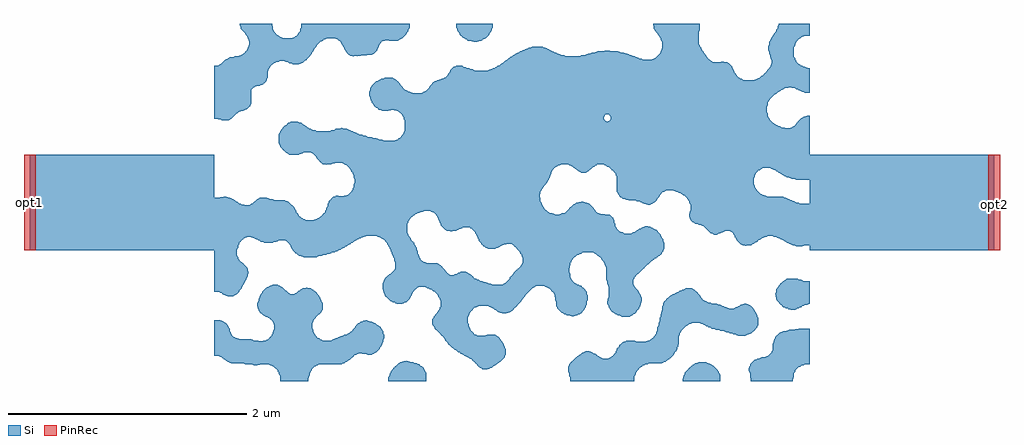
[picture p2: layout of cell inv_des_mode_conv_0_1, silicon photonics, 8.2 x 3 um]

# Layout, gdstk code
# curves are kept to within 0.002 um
import gdstk
lib = gdstk.Library(unit=1e-6, precision=1e-09)
def R(c, l, rs):  # rectangles x0, y0, x1, y1
    for r in rs: c.add(gdstk.rectangle(r[:2], r[2:], *l))
def P(c, l, *ps):  # polygons
    for p in ps: c.add(gdstk.Polygon(p, *l))
Si = (1, 0)
PinRec = (1, 10)

inv_des_mode_conv_0_1 = lib.new_cell('inv_des_mode_conv_0_1')
R(inv_des_mode_conv_0_1, Si, [(-4.05,-0.4,-2.5,0.4), (2.5,-0.4,4.05,0.4)])
P(inv_des_mode_conv_0_1, Si, [(-2.41,0.69),(-2.44,0.693),(-2.449,0.7),(-2.5,0.703),(-2.5,1.148),(-2.468,1.15),(-2.46,1.157),(-2.45,1.16),(-2.41,1.198),(-2.37,1.219),(-2.35,1.219),(-2.33,1.227),(-2.292,1.23),(-2.28,1.239),(-2.269,1.24),(-2.24,1.265),(-2.22,1.29),(-2.217,1.31),(-2.21,1.319),(-2.21,1.363),(-2.219,1.38),(-2.22,1.39),(-2.277,1.46),(-2.289,1.5),(-2.015,1.5),(-2.011,1.46),(-2,1.438),(-1.977,1.41),(-1.952,1.392),(-1.952,1.19),(-1.96,1.184),(-1.98,1.181),(-1.99,1.173),(-2,1.171),(-2.041,1.13),(-2.042,1.12),(-2.05,1.11),(-2.053,1.05),(-2.06,1.04),(-2.063,1.02),(-2.072,1.01),(-2.09,0.994),(-2.109,0.99),(-2.12,0.982),(-2.144,0.98),(-2.15,0.975),(-2.167,0.97),(-2.18,0.96),(-2.191,0.94),(-2.191,0.83),(-2.193,0.82),(-2.21,0.8),(-2.23,0.782),(-2.24,0.781),(-2.25,0.774),(-2.274,0.77),(-2.29,0.761),(-2.3,0.76),(-2.36,0.702),(-2.38,0.691)],
  [(-1.83,1.161),(-1.84,1.163),(-1.849,1.17),(-1.87,1.172),(-1.879,1.18),(-1.9,1.182),(-1.917,1.19),(-1.952,1.19),(-1.952,1.392),(-1.92,1.379),(-1.85,1.379),(-1.81,1.4),(-1.78,1.44),(-1.777,1.46),(-1.77,1.469),(-1.769,1.5),(-0.86,1.5),(-0.862,1.46),(-0.87,1.451),(-0.871,1.44),(-0.881,1.43),(-0.884,1.42),(-0.892,1.41),(-0.92,1.382),(-0.96,1.361),(-1.082,1.36),(-1.097,1.35),(-1.11,1.333),(-1.12,1.315),(-1.122,1.3),(-1.131,1.29),(-1.132,1.28),(-1.16,1.251),(-1.18,1.241),(-1.32,1.228),(-1.36,1.234),(-1.398,1.27),(-1.4,1.28),(-1.409,1.29),(-1.41,1.3),(-1.419,1.31),(-1.42,1.32),(-1.45,1.36),(-1.485,1.38),(-1.55,1.381),(-1.57,1.371),(-1.581,1.37),(-1.59,1.361),(-1.61,1.351),(-1.641,1.32),(-1.671,1.27),(-1.681,1.26),(-1.683,1.25),(-1.73,1.195),(-1.76,1.173),(-1.776,1.17),(-1.79,1.162)],
  [(-0.32,1.351),(-0.34,1.353),(-0.35,1.36),(-0.37,1.361),(-0.38,1.37),(-0.39,1.371),(-0.399,1.38),(-0.42,1.392),(-0.437,1.41),(-0.457,1.44),(-0.46,1.46),(-0.467,1.47),(-0.469,1.5),(-0.161,1.5),(-0.161,1.48),(-0.163,1.47),(-0.17,1.461),(-0.173,1.44),(-0.192,1.41),(-0.21,1.391),(-0.25,1.364),(-0.27,1.361),(-0.29,1.352)],
  [(2.34,-0.899),(2.32,-0.895),(2.315,-0.89),(2.3,-0.888),(2.291,-0.88),(2.28,-0.878),(2.231,-0.83),(2.221,-0.81),(2.213,-0.77),(2.22,-0.753),(2.222,-0.73),(2.231,-0.72),(2.232,-0.71),(2.26,-0.677),(2.29,-0.652),(2.301,-0.65),(2.31,-0.642),(2.39,-0.641),(2.4,-0.642),(2.41,-0.65),(2.44,-0.653),(2.449,-0.66),(2.5,-0.661),(2.5,-0.851),(2.459,-0.86),(2.45,-0.868),(2.44,-0.869),(2.43,-0.879),(2.419,-0.88),(2.41,-0.889),(2.397,-0.89),(2.39,-0.896),(2.38,-0.899)],
  [(0.491,-1.5),(0.49,-1.47),(0.483,-1.46),(0.48,-1.436),(0.472,-1.42),(0.472,-1.38),(0.481,-1.36),(0.499,-1.34),(0.55,-1.292),(0.57,-1.28),(0.59,-1.262),(0.6,-1.261),(0.61,-1.252),(0.66,-1.252),(0.672,-1.26),(0.68,-1.261),(0.69,-1.27),(0.7,-1.272),(0.72,-1.29),(0.73,-1.293),(0.74,-1.301),(0.75,-1.303),(0.76,-1.311),(0.81,-1.311),(0.832,-1.3),(0.85,-1.285),(0.87,-1.261),(0.872,-1.25),(0.881,-1.24),(0.882,-1.23),(0.89,-1.222),(0.895,-1.21),(0.92,-1.182),(0.94,-1.171),(0.95,-1.17),(0.96,-1.162),(1.02,-1.161),(1.04,-1.164),(1.051,-1.17),(1.11,-1.171),(1.121,-1.17),(1.14,-1.161),(1.15,-1.161),(1.16,-1.153),(1.17,-1.151),(1.201,-1.12),(1.203,-1.11),(1.211,-1.1),(1.211,-1.09),(1.22,-1.077),(1.222,-1.05),(1.23,-1.036),(1.232,-1.01),(1.24,-0.995),(1.242,-0.97),(1.25,-0.958),(1.254,-0.92),(1.26,-0.912),(1.263,-0.87),(1.27,-0.862),(1.275,-0.84),(1.299,-0.81),(1.33,-0.782),(1.34,-0.781),(1.35,-0.772),(1.361,-0.77),(1.361,-1.273),(1.33,-1.307),(1.29,-1.337),(1.276,-1.34),(1.27,-1.346),(1.26,-1.349),(1.153,-1.35),(1.14,-1.357),(1.12,-1.359),(1.11,-1.367),(1.1,-1.369),(1.07,-1.394),(1.04,-1.43),(1.039,-1.44),(1.029,-1.46),(1.029,-1.5)],
  [(1.361,-1.273),(1.361,-0.77),(1.37,-0.762),(1.38,-0.761),(1.39,-0.753),(1.422,-0.74),(1.43,-0.733),(1.447,-0.73),(1.46,-0.722),(1.51,-0.721),(1.53,-0.731),(1.55,-0.749),(1.579,-0.78),(1.59,-0.8),(1.61,-0.82),(1.645,-0.84),(1.67,-0.843),(1.681,-0.85),(1.72,-0.851),(1.73,-0.854),(1.737,-0.86),(1.75,-0.861),(1.76,-0.864),(1.767,-0.87),(1.78,-0.872),(1.789,-0.88),(1.81,-0.884),(1.817,-0.89),(1.83,-0.891),(1.867,-0.89),(1.88,-0.881),(1.891,-0.88),(1.9,-0.871),(1.91,-0.87),(1.92,-0.861),(1.932,-0.86),(1.94,-0.853),(1.97,-0.851),(1.98,-0.853),(2.01,-0.871),(2.028,-0.89),(2.04,-0.912),(2.048,-0.92),(2.049,-0.93),(2.057,-0.94),(2.06,-0.961),(2.068,-0.97),(2.068,-1.03),(2.06,-1.039),(2.059,-1.05),(2.03,-1.083),(2.01,-1.099),(2.002,-1.1),(1.99,-1.109),(1.976,-1.11),(1.96,-1.118),(1.9,-1.118),(1.885,-1.11),(1.86,-1.108),(1.851,-1.1),(1.83,-1.098),(1.82,-1.09),(1.79,-1.086),(1.78,-1.079),(1.76,-1.079),(1.75,-1.077),(1.74,-1.07),(1.71,-1.068),(1.699,-1.06),(1.68,-1.059),(1.669,-1.05),(1.65,-1.047),(1.643,-1.04),(1.63,-1.038),(1.62,-1.029),(1.61,-1.028),(1.6,-1.019),(1.58,-1.016),(1.572,-1.01),(1.518,-1.01),(1.51,-1.016),(1.49,-1.02),(1.47,-1.036),(1.459,-1.04),(1.42,-1.079),(1.417,-1.09),(1.41,-1.098),(1.408,-1.11),(1.4,-1.126),(1.399,-1.19),(1.396,-1.21),(1.39,-1.217),(1.389,-1.23),(1.38,-1.243),(1.379,-1.25)],
  [(2.007,-1.5),(2.001,-1.44),(1.992,-1.42),(1.991,-1.41),(1.993,-1.38),(2.001,-1.37),(2.002,-1.36),(2.04,-1.322),(2.05,-1.321),(2.06,-1.312),(2.082,-1.31),(2.1,-1.301),(2.12,-1.301),(2.13,-1.294),(2.15,-1.29),(2.181,-1.26),(2.182,-1.25),(2.19,-1.24),(2.192,-1.19),(2.2,-1.172),(2.202,-1.15),(2.21,-1.141),(2.212,-1.13),(2.231,-1.11),(2.25,-1.096),(2.268,-1.09),(2.28,-1.081),(2.306,-1.08),(2.32,-1.072),(2.375,-1.07),(2.39,-1.063),(2.41,-1.061),(2.5,-1.06),(2.5,-1.359),(2.46,-1.36),(2.45,-1.367),(2.43,-1.369),(2.42,-1.378),(2.409,-1.38),(2.389,-1.4),(2.38,-1.41),(2.378,-1.42),(2.37,-1.429),(2.36,-1.5)],
  [(-1.039,-1.5),(-1.038,-1.47),(-1.03,-1.456),(-1.028,-1.44),(-1.019,-1.43),(-1.018,-1.42),(-0.97,-1.366),(-0.94,-1.343),(-0.92,-1.34),(-0.91,-1.333),(-0.87,-1.333),(-0.857,-1.34),(-0.83,-1.342),(-0.821,-1.35),(-0.8,-1.352),(-0.791,-1.36),(-0.78,-1.361),(-0.771,-1.37),(-0.76,-1.374),(-0.743,-1.39),(-0.722,-1.43),(-0.721,-1.5)],
  [(1.434,-1.5),(1.442,-1.45),(1.451,-1.44),(1.452,-1.43),(1.52,-1.363),(1.53,-1.361),(1.54,-1.352),(1.554,-1.35),(1.57,-1.341),(1.63,-1.342),(1.64,-1.35),(1.66,-1.353),(1.667,-1.36),(1.69,-1.371),(1.729,-1.41),(1.749,-1.45),(1.751,-1.5)],
  [(-1.92,0.44),(-1.948,0.47),(-1.949,0.48),(-1.957,0.49),(-1.96,0.52),(-1.959,0.57),(-1.956,0.58),(-1.95,0.586),(-1.947,0.6),(-1.92,0.634)],
  [(-2.39,-0.789),(-2.423,-0.77),(-2.43,-0.769),(-2.439,-0.76),(-2.45,-0.758),(-2.459,-0.75),(-2.5,-0.748),(-2.5,0.04),(-2.462,0.04),(-2.44,0.046),(-2.4,0.047),(-2.385,0.04),(-2.36,0.037),(-2.353,0.03),(-2.34,0.026),(-2.32,0.01),(-2.31,0.007),(-2.29,-0.01),(-2.28,-0.011),(-2.27,-0.02),(-2.24,-0.022),(-2.2,-0.02),(-2.19,-0.011),(-2.169,0),(-2.14,0.027),(-2.129,0.03),(-2.12,0.038),(-2.06,0.039),(-2.05,0.037),(-2.042,0.03),(-2.01,0.028),(-1.991,0.02),(-1.92,0.019),(-1.92,-0.318),(-1.965,-0.32),(-1.98,-0.329),(-2.001,-0.33),(-2.01,-0.337),(-2.02,-0.339),(-2.07,-0.339),(-2.08,-0.337),(-2.09,-0.33),(-2.11,-0.328),(-2.119,-0.32),(-2.13,-0.319),(-2.14,-0.31),(-2.15,-0.309),(-2.163,-0.3),(-2.18,-0.298),(-2.191,-0.29),(-2.2,-0.289),(-2.231,-0.29),(-2.24,-0.297),(-2.252,-0.3),(-2.27,-0.316),(-2.29,-0.339),(-2.292,-0.35),(-2.3,-0.359),(-2.302,-0.38),(-2.31,-0.39),(-2.31,-0.449),(-2.302,-0.46),(-2.301,-0.47),(-2.29,-0.484),(-2.25,-0.521),(-2.224,-0.55),(-2.22,-0.569),(-2.214,-0.58),(-2.215,-0.6),(-2.22,-0.607),(-2.223,-0.63),(-2.23,-0.637),(-2.233,-0.65),(-2.26,-0.69),(-2.261,-0.7),(-2.271,-0.71),(-2.272,-0.72),(-2.29,-0.74),(-2.293,-0.75),(-2.302,-0.76),(-2.32,-0.776),(-2.332,-0.78),(-2.34,-0.788)],
  [(-1.56,0.319),(-1.59,0.323),(-1.639,0.37),(-1.649,0.39),(-1.67,0.411),(-1.69,0.421),(-1.75,0.421),(-1.76,0.413),(-1.781,0.41),(-1.79,0.402),(-1.82,0.4),(-1.87,0.403),(-1.9,0.421),(-1.92,0.44),(-1.92,0.634),(-1.915,0.64),(-1.88,0.668),(-1.867,0.67),(-1.86,0.677),(-1.8,0.679),(-1.79,0.676),(-1.784,0.67),(-1.77,0.668),(-1.762,0.66),(-1.74,0.649),(-1.73,0.639),(-1.71,0.629),(-1.7,0.62),(-1.69,0.619),(-1.677,0.61),(-1.65,0.606),(-1.643,0.6),(-1.53,0.599),(-1.52,0.605),(-1.52,0.321)],
  [(-1.92,-0.23),(-1.92,0.019),(-1.91,0.018),(-1.9,0.01),(-1.88,0.006),(-1.87,-0.001),(-1.831,-0.04),(-1.82,-0.062),(-1.812,-0.07),(-1.811,-0.08),(-1.801,-0.09),(-1.79,-0.11),(-1.77,-0.13),(-1.76,-0.133),(-1.753,-0.14),(-1.74,-0.142),(-1.731,-0.15),(-1.68,-0.151),(-1.668,-0.15),(-1.66,-0.143),(-1.639,-0.14),(-1.63,-0.132),(-1.62,-0.13),(-1.57,-0.081),(-1.568,-0.07),(-1.56,-0.061),(-1.557,-0.04),(-1.55,-0.032),(-1.548,-0.01),(-1.54,-0.002),(-1.538,0.01),(-1.52,0.03),(-1.52,-0.23)],
  [(-1.75,-0.459),(-1.76,-0.457),(-1.768,-0.45),(-1.79,-0.446),(-1.81,-0.43),(-1.82,-0.426),(-1.849,-0.39),(-1.86,-0.364),(-1.88,-0.337),(-1.899,-0.32),(-1.92,-0.318),(-1.92,-0.23),(-1.52,-0.23),(-1.52,-0.426),(-1.551,-0.43),(-1.56,-0.438),(-1.587,-0.44),(-1.6,-0.448),(-1.627,-0.45),(-1.64,-0.458)],
  [(-1.09,0.771),(-1.1,0.773),(-1.108,0.78),(-1.12,0.781),(-1.156,0.81),(-1.16,0.819),(-1.178,0.84),(-1.18,0.852),(-1.188,0.86),(-1.19,0.882),(-1.196,0.89),(-1.199,0.91),(-1.197,0.94),(-1.19,0.949),(-1.189,0.96),(-1.179,0.98),(-1.14,1.018),(-1.129,1.02),(-1.12,1.029),(-1.109,1.03),(-1.1,1.038),(-1.09,1.039)],
  [(-1.52,-0.23),(-1.52,0.03),(-1.5,0.049),(-1.487,0.05),(-1.48,0.055),(-1.46,0.058),(-1.42,0.054),(-1.38,0.06),(-1.35,0.09),(-1.348,0.1),(-1.339,0.11),(-1.339,0.12),(-1.33,0.13),(-1.327,0.16),(-1.32,0.177),(-1.32,0.191),(-1.328,0.21),(-1.33,0.231),(-1.338,0.24),(-1.339,0.25),(-1.349,0.26),(-1.36,0.28),(-1.401,0.32),(-1.41,0.322),(-1.419,0.33),(-1.45,0.334),(-1.5,0.331),(-1.52,0.321),(-1.52,0.605),(-1.51,0.609),(-1.49,0.61),(-1.48,0.618),(-1.449,0.62),(-1.44,0.625),(-1.42,0.625),(-1.41,0.62),(-1.38,0.617),(-1.372,0.61),(-1.36,0.609),(-1.35,0.6),(-1.34,0.599),(-1.328,0.59),(-1.31,0.586),(-1.304,0.58),(-1.29,0.578),(-1.28,0.57),(-1.26,0.568),(-1.248,0.56),(-1.22,0.558),(-1.21,0.55),(-1.18,0.548),(-1.16,0.539),(-1.13,0.537),(-1.121,0.53),(-1.09,0.528),(-1.09,-0.23)],
  [(-1.52,-0.426),(-1.52,-0.23),(-1.09,-0.23),(-1.09,-0.306),(-1.11,-0.29),(-1.13,-0.286),(-1.14,-0.279),(-1.225,-0.28),(-1.24,-0.289),(-1.256,-0.29),(-1.27,-0.299),(-1.28,-0.3),(-1.29,-0.309),(-1.3,-0.31),(-1.31,-0.319),(-1.318,-0.32),(-1.34,-0.337),(-1.35,-0.339),(-1.36,-0.349),(-1.366,-0.35),(-1.39,-0.368),(-1.4,-0.37),(-1.41,-0.379),(-1.434,-0.39),(-1.44,-0.396),(-1.457,-0.4),(-1.47,-0.409),(-1.48,-0.409),(-1.49,-0.417),(-1.513,-0.42)],
  [(-1.09,-0.23),(-1.09,0.528),(-1.073,0.52),(-0.99,0.519),(-0.982,0.52),(-0.97,0.528),(-0.96,0.529),(-0.93,0.555),(-0.91,0.581),(-0.906,0.6),(-0.9,0.608),(-0.899,0.62),(-0.9,0.691),(-0.908,0.7),(-0.91,0.716),(-0.92,0.732),(-0.946,0.76),(-0.959,0.77),(-0.98,0.773),(-0.998,0.78),(-1.011,0.78),(-1.05,0.771),(-1.09,0.771),(-1.09,1.039),(-1.08,1.04),(-1.07,1.048),(-1.01,1.049),(-1,1.047),(-0.993,1.04),(-0.97,1.028),(-0.931,0.98),(-0.888,0.94),(-0.88,0.939),(-0.87,0.93),(-0.85,0.927),(-0.841,0.92),(-0.831,0.919),(-0.831,-0.111),(-0.86,-0.14),(-0.863,-0.15),(-0.871,-0.16),(-0.873,-0.17),(-0.881,-0.18),(-0.882,-0.23)],
  [(-0.97,-0.849),(-0.98,-0.846),(-0.987,-0.84),(-1,-0.839),(-1.011,-0.83),(-1.02,-0.829),(-1.069,-0.78),(-1.07,-0.769),(-1.078,-0.76),(-1.08,-0.738),(-1.086,-0.73),(-1.088,-0.72),(-1.088,-0.69),(-1.08,-0.673),(-1.079,-0.66),(-1.059,-0.63),(-1.03,-0.604),(-1.02,-0.6),(-0.989,-0.57),(-0.987,-0.56),(-0.979,-0.55),(-0.979,-0.51),(-0.98,-0.5),(-0.988,-0.49),(-0.99,-0.471),(-0.999,-0.46),(-0.999,-0.45),(-1.007,-0.44),(-1.01,-0.42),(-1.019,-0.41),(-1.019,-0.4),(-1.027,-0.39),(-1.03,-0.377),(-1.037,-0.37),(-1.039,-0.36),(-1.059,-0.33),(-1.08,-0.31),(-1.09,-0.306),(-1.09,-0.23),(-0.882,-0.23),(-0.88,-0.257),(-0.871,-0.27),(-0.87,-0.279),(-0.852,-0.3),(-0.85,-0.309),(-0.831,-0.33),(-0.832,-0.76),(-0.84,-0.768),(-0.842,-0.78),(-0.85,-0.788),(-0.853,-0.8),(-0.89,-0.838),(-0.9,-0.839),(-0.91,-0.847),(-0.92,-0.849)],
  [(-0.831,0.709),(-0.831,0.919),(-0.752,0.92),(-0.72,0.939),(-0.7,0.96),(-0.688,0.98),(-0.65,1.017),(-0.638,1.02),(-0.63,1.028),(-0.609,1.03),(-0.6,1.037),(-0.579,1.04),(-0.57,1.048),(-0.559,1.05),(-0.54,1.069),(-0.54,0.709)],
  [(-0.54,-0.239),(-0.56,-0.229),(-0.599,-0.19),(-0.6,-0.18),(-0.609,-0.17),(-0.609,-0.16),(-0.617,-0.15),(-0.62,-0.133),(-0.63,-0.114),(-0.639,-0.1),(-0.664,-0.08),(-0.68,-0.077),(-0.689,-0.07),(-0.737,-0.07),(-0.75,-0.078),(-0.77,-0.079),(-0.78,-0.087),(-0.795,-0.09),(-0.82,-0.108),(-0.831,-0.111),(-0.831,0.709),(-0.54,0.709)],
  [(-0.54,-1.18),(-0.559,-1.16),(-0.567,-1.15),(-0.57,-1.14),(-0.6,-1.106),(-0.647,-1.06),(-0.666,-1.03),(-0.669,-1.02),(-0.668,-0.98),(-0.66,-0.972),(-0.658,-0.96),(-0.63,-0.929),(-0.627,-0.92),(-0.61,-0.9),(-0.609,-0.89),(-0.6,-0.874),(-0.599,-0.83),(-0.6,-0.823),(-0.609,-0.81),(-0.609,-0.8),(-0.63,-0.77),(-0.651,-0.75),(-0.66,-0.747),(-0.68,-0.73),(-0.69,-0.728),(-0.7,-0.719),(-0.71,-0.719),(-0.724,-0.71),(-0.786,-0.71),(-0.802,-0.72),(-0.831,-0.75),(-0.831,-0.33),(-0.823,-0.34),(-0.82,-0.351),(-0.811,-0.36),(-0.81,-0.37),(-0.801,-0.38),(-0.801,-0.39),(-0.791,-0.41),(-0.79,-0.43),(-0.782,-0.44),(-0.78,-0.46),(-0.759,-0.49),(-0.75,-0.493),(-0.743,-0.5),(-0.73,-0.502),(-0.712,-0.51),(-0.65,-0.51),(-0.62,-0.513),(-0.586,-0.54),(-0.55,-0.587),(-0.54,-0.595)],
  [(-0.54,0.709),(-0.54,1.07),(-0.537,1.08),(-0.53,1.087),(-0.518,1.11),(-0.49,1.139),(-0.482,1.14),(-0.47,1.148),(-0.43,1.149),(-0.42,1.147),(-0.411,1.14),(-0.39,1.138),(-0.381,1.13),(-0.36,1.127),(-0.35,1.119),(-0.33,1.118),(-0.316,1.11),(-0.25,1.108),(-0.25,0.709)],
  [(-0.25,-0.357),(-0.278,-0.32),(-0.28,-0.309),(-0.288,-0.3),(-0.289,-0.29),(-0.297,-0.28),(-0.3,-0.267),(-0.307,-0.26),(-0.309,-0.25),(-0.338,-0.22),(-0.356,-0.21),(-0.412,-0.21),(-0.42,-0.217),(-0.438,-0.22),(-0.45,-0.229),(-0.461,-0.23),(-0.47,-0.238),(-0.51,-0.242),(-0.54,-0.239),(-0.54,0.709),(-0.25,0.709)],
  [(-0.25,-1.399),(-0.26,-1.39),(-0.27,-1.387),(-0.34,-1.319),(-0.36,-1.309),(-0.369,-1.3),(-0.38,-1.298),(-0.39,-1.289),(-0.4,-1.287),(-0.423,-1.27),(-0.43,-1.269),(-0.439,-1.26),(-0.45,-1.258),(-0.47,-1.24),(-0.48,-1.238),(-0.52,-1.205),(-0.535,-1.19),(-0.54,-1.18),(-0.54,-0.595),(-0.515,-0.61),(-0.489,-0.61),(-0.48,-0.604),(-0.461,-0.6),(-0.45,-0.591),(-0.439,-0.59),(-0.43,-0.582),(-0.39,-0.581),(-0.35,-0.604),(-0.31,-0.64),(-0.3,-0.642),(-0.29,-0.651),(-0.28,-0.651),(-0.267,-0.66),(-0.25,-0.661),(-0.25,-0.868),(-0.285,-0.87),(-0.29,-0.875),(-0.309,-0.88),(-0.322,-0.89),(-0.351,-0.92),(-0.354,-0.93),(-0.36,-0.936),(-0.362,-0.95),(-0.37,-0.966),(-0.371,-0.98),(-0.37,-1.013),(-0.362,-1.03),(-0.36,-1.05),(-0.351,-1.06),(-0.35,-1.07),(-0.34,-1.082),(-0.31,-1.111),(-0.3,-1.112),(-0.29,-1.12),(-0.25,-1.121)],
  [(-0.25,0.709),(-0.25,1.108),(-0.199,1.11),(-0.19,1.117),(-0.17,1.119),(-0.16,1.128),(-0.147,1.13),(-0.12,1.147),(-0.11,1.149),(-0.05,1.196),(-0.04,1.2),(-0.02,1.218),(0.01,1.238),(0.02,1.24),(0.035,1.25),(0.035,0.709)],
  [(-0.2,-0.389),(-0.213,-0.38),(-0.22,-0.379),(-0.25,-0.357),(-0.25,0.709),(0.035,0.709),(0.035,-0.381),(0,-0.35),(-0.04,-0.348),(-0.066,-0.35),(-0.08,-0.359),(-0.088,-0.36),(-0.11,-0.375),(-0.128,-0.38),(-0.14,-0.388)],
  [(-0.06,-0.931),(-0.1,-0.928),(-0.109,-0.92),(-0.12,-0.918),(-0.16,-0.889),(-0.17,-0.886),(-0.176,-0.88),(-0.19,-0.877),(-0.2,-0.869),(-0.25,-0.868),(-0.25,-0.661),(-0.234,-0.67),(-0.21,-0.673),(-0.201,-0.68),(-0.18,-0.682),(-0.167,-0.69),(-0.08,-0.69),(-0.07,-0.682),(-0.06,-0.68),(-0.029,-0.65),(-0.02,-0.64),(-0.017,-0.63),(0.01,-0.6),(0.015,-0.59),(0.035,-0.57),(0.035,-0.875),(-0.01,-0.918),(-0.021,-0.92),(-0.03,-0.928)],
  [(-0.22,-1.402),(-0.25,-1.399),(-0.25,-1.121),(-0.229,-1.12),(-0.21,-1.111),(-0.14,-1.113),(-0.11,-1.134),(-0.081,-1.17),(-0.08,-1.179),(-0.061,-1.21),(-0.06,-1.224),(-0.054,-1.23),(-0.051,-1.25),(-0.053,-1.28),(-0.061,-1.29),(-0.062,-1.3),(-0.11,-1.348),(-0.119,-1.35),(-0.14,-1.368),(-0.149,-1.37),(-0.17,-1.388),(-0.18,-1.389),(-0.19,-1.398)],
  [(0.035,0.709),(0.035,1.25),(0.05,1.259),(0.06,1.261),(0.07,1.269),(0.081,1.27),(0.09,1.279),(0.102,1.28),(0.11,1.288),(0.126,1.29),(0.14,1.299),(0.154,1.3),(0.16,1.306),(0.17,1.309),(0.22,1.31),(0.26,1.308),(0.272,1.3),(0.29,1.297),(0.3,1.289),(0.31,1.288),(0.318,1.28),(0.33,1.277),(0.36,1.259),(0.37,1.258),(0.379,1.25),(0.4,1.247),(0.408,1.24),(0.408,0.709)],
  [(0.408,-0.917),(0.382,-0.89),(0.38,-0.879),(0.372,-0.87),(0.37,-0.835),(0.363,-0.81),(0.36,-0.778),(0.353,-0.77),(0.351,-0.76),(0.31,-0.719),(0.3,-0.717),(0.293,-0.71),(0.28,-0.707),(0.27,-0.699),(0.21,-0.699),(0.17,-0.719),(0.119,-0.77),(0.108,-0.79),(0.089,-0.81),(0.077,-0.83),(0.035,-0.875),(0.035,-0.57),(0.07,-0.54),(0.091,-0.5),(0.09,-0.463),(0.081,-0.45),(0.08,-0.439),(0.071,-0.43),(0.061,-0.41),(0.035,-0.381),(0.035,0.709),(0.408,0.709),(0.408,0.316),(0.386,0.31),(0.368,0.3),(0.339,0.27),(0.336,0.26),(0.33,0.254),(0.328,0.24),(0.32,0.231),(0.318,0.21),(0.309,0.2),(0.309,0.19),(0.3,0.181),(0.297,0.17),(0.26,0.127),(0.258,0.12),(0.24,0.096),(0.234,0.06),(0.239,0.01),(0.247,0),(0.25,-0.016),(0.27,-0.051),(0.29,-0.071),(0.302,-0.08),(0.31,-0.081),(0.32,-0.09),(0.34,-0.092),(0.358,-0.1),(0.408,-0.099)],
  [(0.408,0.709),(0.408,1.24),(0.44,1.237),(0.45,1.23),(0.46,1.229),(0.56,1.229),(0.59,1.238),(0.621,1.24),(0.63,1.247),(0.657,1.25),(0.67,1.258),(0.69,1.259),(0.698,1.263),(0.698,0.709)],
  [(0.59,0.251),(0.58,0.252),(0.57,0.26),(0.56,0.261),(0.51,0.301),(0.5,0.304),(0.494,0.31),(0.48,0.312),(0.47,0.32),(0.42,0.321),(0.408,0.316),(0.408,0.709),(0.698,0.709),(0.698,0.31),(0.64,0.261),(0.62,0.251)],
  [(0.51,-0.956),(0.489,-0.95),(0.46,-0.948),(0.451,-0.94),(0.44,-0.939),(0.431,-0.93),(0.42,-0.928),(0.408,-0.917),(0.408,-0.099),(0.42,-0.092),(0.439,-0.09),(0.464,-0.07),(0.51,-0.022),(0.52,-0.014),(0.532,-0.01),(0.54,-0.002),(0.564,0),(0.58,0.007),(0.59,0.007),(0.6,0.006),(0.61,0),(0.63,-0.001),(0.643,-0.01),(0.65,-0.011),(0.688,-0.05),(0.698,-0.066),(0.698,-0.429),(0.69,-0.428),(0.68,-0.42),(0.65,-0.418),(0.6,-0.419),(0.58,-0.429),(0.57,-0.429),(0.56,-0.438),(0.55,-0.439),(0.522,-0.46),(0.5,-0.488),(0.498,-0.5),(0.489,-0.51),(0.487,-0.54),(0.48,-0.57),(0.488,-0.6),(0.49,-0.63),(0.499,-0.64),(0.5,-0.649),(0.52,-0.671),(0.533,-0.68),(0.54,-0.681),(0.55,-0.69),(0.56,-0.691),(0.57,-0.7),(0.58,-0.701),(0.613,-0.73),(0.628,-0.75),(0.63,-0.77),(0.638,-0.79),(0.637,-0.81),(0.63,-0.828),(0.627,-0.86),(0.619,-0.87),(0.619,-0.88),(0.61,-0.889),(0.608,-0.9),(0.57,-0.938),(0.559,-0.94),(0.55,-0.948),(0.526,-0.95)],
  [(0.93,0.031),(0.906,0.05),(0.891,0.07),(0.882,0.09),(0.88,0.221),(0.872,0.23),(0.871,0.24),(0.86,0.254),(0.81,0.3),(0.8,0.302),(0.79,0.311),(0.78,0.312),(0.771,0.32),(0.72,0.321),(0.698,0.31),(0.698,0.709),(0.77,0.709),(0.78,0.689),(0.797,0.68),(0.805,0.68),(0.822,0.69),(0.83,0.7),(0.831,0.71),(0.83,0.721),(0.823,0.73),(0.811,0.74),(0.8,0.741),(0.79,0.74),(0.778,0.73),(0.77,0.709),(0.698,0.709),(0.698,1.263),(0.71,1.268),(0.767,1.27),(0.8,1.275),(0.835,1.27),(0.9,1.268),(0.913,1.26),(0.94,1.258),(0.94,0.031)],
  [(0.93,-0.959),(0.92,-0.958),(0.911,-0.95),(0.89,-0.948),(0.882,-0.94),(0.87,-0.938),(0.84,-0.917),(0.824,-0.9),(0.82,-0.889),(0.811,-0.88),(0.81,-0.865),(0.802,-0.85),(0.803,-0.82),(0.81,-0.804),(0.811,-0.79),(0.811,-0.71),(0.81,-0.699),(0.803,-0.69),(0.8,-0.66),(0.793,-0.65),(0.79,-0.546),(0.782,-0.53),(0.78,-0.517),(0.75,-0.47),(0.73,-0.45),(0.72,-0.446),(0.698,-0.429),(0.698,-0.066),(0.72,-0.09),(0.74,-0.094),(0.75,-0.1),(0.81,-0.101),(0.82,-0.103),(0.83,-0.111),(0.856,-0.14),(0.86,-0.169),(0.867,-0.18),(0.87,-0.205),(0.879,-0.22),(0.9,-0.241),(0.915,-0.25),(0.93,-0.252),(0.94,-0.26),(0.94,-0.959)],
  [(1.25,1.379),(1.232,1.4),(1.23,1.408),(1.221,1.42),(1.203,1.44),(1.2,1.452),(1.192,1.46),(1.19,1.484),(1.186,1.49),(1.185,1.5),(1.25,1.5)],
  [(1.14,-0.018),(1.13,-0.016),(1.122,-0.01),(1.1,-0.007),(1.09,0.001),(1.08,0.001),(1.07,0.01),(1.05,0.012),(1.038,0.02),(0.96,0.022),(0.94,0.031),(0.94,1.258),(0.953,1.25),(0.97,1.249),(0.986,1.24),(1,1.239),(1.013,1.23),(1.03,1.228),(1.039,1.22),(1.06,1.216),(1.067,1.21),(1.09,1.207),(1.1,1.2),(1.17,1.199),(1.19,1.209),(1.2,1.21),(1.23,1.237),(1.25,1.264),(1.25,0.071),(1.24,0.06),(1.238,0.05),(1.22,0.03),(1.216,0.02),(1.2,0.003),(1.18,-0.009),(1.169,-0.01),(1.16,-0.017)],
  [(0.94,-0.959),(0.94,-0.26),(1.005,-0.26),(1.02,-0.251),(1.03,-0.25),(1.04,-0.241),(1.06,-0.231),(1.07,-0.221),(1.079,-0.22),(1.09,-0.211),(1.101,-0.21),(1.11,-0.203),(1.12,-0.201),(1.15,-0.202),(1.166,-0.21),(1.18,-0.212),(1.189,-0.22),(1.2,-0.223),(1.248,-0.27),(1.25,-0.437),(1.21,-0.468),(1.2,-0.47),(1.18,-0.488),(1.172,-0.49),(1.16,-0.5),(1.03,-0.628),(1.019,-0.65),(1.02,-0.686),(1.039,-0.72),(1.059,-0.74),(1.067,-0.75),(1.07,-0.761),(1.079,-0.77),(1.08,-0.782),(1.087,-0.79),(1.089,-0.8),(1.087,-0.84),(1.08,-0.85),(1.078,-0.87),(1.07,-0.878),(1.068,-0.89),(1.03,-0.935),(1.019,-0.94),(1.01,-0.949),(1,-0.95),(0.99,-0.958)],
  [(1.94,-0.359),(1.93,-0.357),(1.891,-0.32),(1.883,-0.31),(1.87,-0.278),(1.862,-0.27),(1.86,-0.26),(1.85,-0.25),(1.833,-0.24),(1.79,-0.239),(1.78,-0.246),(1.763,-0.25),(1.75,-0.259),(1.739,-0.26),(1.73,-0.267),(1.69,-0.268),(1.681,-0.26),(1.67,-0.258),(1.61,-0.199),(1.6,-0.197),(1.59,-0.189),(1.57,-0.187),(1.561,-0.18),(1.54,-0.178),(1.531,-0.17),(1.52,-0.168),(1.502,-0.15),(1.5,-0.141),(1.492,-0.13),(1.491,-0.1),(1.493,-0.08),(1.5,-0.066),(1.501,-0.03),(1.5,-0.019),(1.493,-0.01),(1.49,0.01),(1.474,0.03),(1.47,0.04),(1.432,0.07),(1.415,0.08),(1.4,0.083),(1.393,0.09),(1.38,0.091),(1.37,0.094),(1.363,0.1),(1.35,0.101),(1.289,0.1),(1.28,0.092),(1.27,0.09),(1.25,0.071),(1.25,1.264),(1.253,1.28),(1.26,1.289),(1.261,1.3),(1.261,1.35),(1.251,1.37),(1.25,1.379),(1.25,1.5),(1.579,1.5),(1.578,1.45),(1.569,1.43),(1.567,1.37),(1.57,1.33),(1.579,1.32),(1.579,1.31),(1.588,1.3),(1.59,1.29),(1.606,1.27),(1.609,1.26),(1.626,1.24),(1.63,1.229),(1.67,1.189),(1.68,1.188),(1.689,1.18),(1.74,1.179),(1.78,1.184),(1.81,1.178),(1.849,1.14),(1.86,1.112),(1.869,1.1),(1.87,1.09),(1.887,1.07),(1.89,1.062),(1.918,1.04),(1.93,1.038),(1.94,1.03)],
  [(1.25,-0.437),(1.25,-0.28),(1.259,-0.29),(1.26,-0.299),(1.269,-0.31),(1.27,-0.325),(1.278,-0.34),(1.279,-0.35),(1.278,-0.39),(1.27,-0.402),(1.269,-0.41)],
  [(1.97,-0.364),(1.94,-0.359),(1.94,1.03),(2.03,1.029),(2.041,1.03),(2.05,1.037),(2.066,1.04),(2.12,1.08),(2.17,1.14),(2.181,1.17),(2.18,1.201),(2.173,1.21),(2.171,1.23),(2.161,1.25),(2.16,1.269),(2.153,1.28),(2.153,1.31),(2.16,1.322),(2.163,1.35),(2.17,1.357),(2.172,1.37),(2.181,1.38),(2.183,1.39),(2.2,1.41),(2.202,1.42),(2.22,1.44),(2.221,1.45),(2.23,1.459),(2.23,0.921),(2.2,0.901),(2.16,0.86),(2.159,0.85),(2.15,0.841),(2.148,0.82),(2.14,0.805),(2.139,0.79),(2.14,0.76),(2.147,0.75),(2.15,0.725),(2.17,0.689),(2.189,0.67),(2.21,0.659),(2.22,0.65),(2.23,0.649),(2.23,0.261),(2.22,0.264),(2.196,0.28),(2.18,0.282),(2.171,0.29),(2.109,0.29),(2.1,0.282),(2.09,0.281),(2.08,0.272),(2.07,0.27),(2.05,0.248),(2.048,0.24),(2.039,0.23),(2.039,0.22),(2.03,0.202),(2.029,0.19),(2.03,0.159),(2.037,0.15),(2.039,0.13),(2.048,0.12),(2.05,0.11),(2.09,0.07),(2.1,0.068),(2.11,0.059),(2.13,0.057),(2.142,0.05),(2.23,0.049),(2.23,-0.296),(2.224,-0.29),(2.2,-0.287),(2.19,-0.28),(2.151,-0.28),(2.14,-0.287),(2.12,-0.289),(2.11,-0.298),(2.1,-0.299),(2.09,-0.309),(2.07,-0.319),(2.05,-0.336),(2.04,-0.339),(2.03,-0.348),(2.018,-0.35),(2.01,-0.358),(1.982,-0.36)],
  [(2.23,0.921),(2.23,1.46),(2.24,1.5),(2.5,1.5),(2.5,1.402),(2.452,1.4),(2.44,1.391),(2.429,1.39),(2.39,1.352),(2.386,1.34),(2.38,1.334),(2.378,1.32),(2.37,1.309),(2.369,1.3),(2.37,1.22),(2.378,1.21),(2.379,1.2),(2.4,1.17),(2.428,1.15),(2.44,1.147),(2.45,1.139),(2.47,1.138),(2.487,1.13),(2.5,1.13),(2.5,0.921),(2.46,0.923),(2.452,0.93),(2.44,0.931),(2.43,0.934),(2.423,0.94),(2.41,0.942),(2.402,0.95),(2.39,0.952),(2.381,0.96),(2.34,0.967),(2.29,0.96),(2.28,0.951),(2.271,0.95)],
  [(2.4,0.192),(2.38,0.196),(2.374,0.2),(2.34,0.202),(2.33,0.21),(2.31,0.212),(2.302,0.22),(2.29,0.222),(2.28,0.231),(2.27,0.233),(2.23,0.261),(2.23,0.649),(2.241,0.64),(2.26,0.637),(2.268,0.63),(2.31,0.625),(2.35,0.629),(2.38,0.65),(2.402,0.68),(2.43,0.707),(2.441,0.71),(2.45,0.719),(2.46,0.719),(2.47,0.726),(2.5,0.729),(2.5,0.192)],
  [(2.4,-0.369),(2.38,-0.365),(2.37,-0.359),(2.35,-0.357),(2.343,-0.35),(2.33,-0.348),(2.322,-0.34),(2.31,-0.337),(2.269,-0.31),(2.26,-0.309),(2.249,-0.3),(2.23,-0.296),(2.23,0.049),(2.28,0.047),(2.289,0.04),(2.31,0.037),(2.317,0.03),(2.33,0.028),(2.338,0.02),(2.35,0.018),(2.359,0.01),(2.37,0.009),(2.384,0),(2.41,-0.003),(2.419,-0.01),(2.5,-0.011),(2.5,-0.359),(2.456,-0.36),(2.44,-0.367)],
  [(-2.04,-0.97),(-2.05,-0.968),(-2.059,-0.96),(-2.07,-0.959),(-2.08,-0.95),(-2.09,-0.948),(-2.128,-0.91),(-2.129,-0.9),(-2.136,-0.89),(-2.138,-0.88),(-2.139,-0.85),(-2.137,-0.84),(-2.13,-0.829),(-2.129,-0.81),(-2.12,-0.796),(-2.116,-0.78),(-2.1,-0.76),(-2.098,-0.75),(-2.07,-0.722),(-2.039,-0.702)],
  [(-2.16,-1.367),(-2.187,-1.36),(-2.24,-1.358),(-2.265,-1.35),(-2.37,-1.347),(-2.38,-1.339),(-2.39,-1.338),(-2.44,-1.299),(-2.45,-1.297),(-2.46,-1.289),(-2.5,-1.286),(-2.5,-0.99),(-2.44,-0.992),(-2.428,-1),(-2.42,-1.001),(-2.4,-1.017),(-2.382,-1.04),(-2.381,-1.05),(-2.373,-1.06),(-2.371,-1.08),(-2.363,-1.09),(-2.36,-1.105),(-2.351,-1.12),(-2.341,-1.13),(-2.33,-1.133),(-2.32,-1.141),(-2.27,-1.148),(-2.19,-1.151),(-2.18,-1.153),(-2.17,-1.16),(-2.11,-1.165),(-2.07,-1.161),(-2.06,-1.153),(-2.05,-1.151),(-2.039,-1.14),(-2.039,-1.364),(-2.05,-1.359),(-2.1,-1.359),(-2.14,-1.367)],
  [(-1.949,-1.5),(-1.95,-1.452),(-1.958,-1.44),(-1.96,-1.428),(-1.968,-1.42),(-1.97,-1.409),(-2,-1.379),(-2.01,-1.376),(-2.017,-1.37),(-2.039,-1.364),(-2.039,-1.14),(-2.02,-1.12),(-2.019,-1.11),(-2.01,-1.101),(-2.007,-1.08),(-2,-1.071),(-1.999,-1.06),(-2,-1.019),(-2.007,-1.01),(-2.01,-0.998),(-2.039,-0.97),(-2.039,-0.702),(-2.023,-0.7),(-2.01,-0.692),(-1.97,-0.693),(-1.961,-0.7),(-1.95,-0.701),(-1.93,-0.712),(-1.881,-0.76),(-1.87,-0.763),(-1.862,-0.77),(-1.85,-0.771),(-1.829,-0.77),(-1.82,-0.762),(-1.81,-0.76),(-1.79,-0.742),(-1.76,-0.722),(-1.73,-0.716),(-1.69,-0.722),(-1.682,-0.73),(-1.67,-0.734),(-1.641,-0.76),(-1.611,-0.8),(-1.61,-0.81),(-1.601,-0.82),(-1.601,-0.92),(-1.661,-0.98),(-1.67,-0.994),(-1.673,-1.01),(-1.68,-1.02),(-1.68,-1.051),(-1.674,-1.06),(-1.67,-1.084),(-1.664,-1.09),(-1.66,-1.102),(-1.652,-1.11),(-1.65,-1.12),(-1.63,-1.14),(-1.62,-1.142),(-1.61,-1.151),(-1.601,-1.152),(-1.601,-1.359),(-1.621,-1.36),(-1.63,-1.367),(-1.644,-1.37),(-1.66,-1.379),(-1.681,-1.4),(-1.694,-1.43),(-1.7,-1.436),(-1.702,-1.46),(-1.71,-1.479),(-1.71,-1.5)],
  [(-1.601,-0.92),(-1.601,-0.83),(-1.6,-0.832),(-1.593,-0.84),(-1.591,-0.85),(-1.591,-0.9),(-1.597,-0.91),(-1.6,-0.914)],
  [(-1.52,-1.36),(-1.601,-1.359),(-1.601,-1.152),(-1.591,-1.16),(-1.52,-1.16),(-1.51,-1.152),(-1.495,-1.15),(-1.48,-1.141),(-1.47,-1.14),(-1.46,-1.131),(-1.45,-1.131),(-1.44,-1.122),(-1.419,-1.12),(-1.41,-1.112),(-1.39,-1.11),(-1.38,-1.101),(-1.369,-1.1),(-1.357,-1.09),(-1.319,-1.05),(-1.315,-1.04),(-1.29,-1.013),(-1.281,-1.01),(-1.27,-1.001),(-1.259,-1),(-1.25,-0.993),(-1.21,-0.992),(-1.196,-1),(-1.18,-1.001),(-1.164,-1.01),(-1.15,-1.013),(-1.13,-1.03),(-1.12,-1.034),(-1.104,-1.05),(-1.083,-1.08),(-1.08,-1.101),(-1.074,-1.11),(-1.072,-1.13),(-1.084,-1.18),(-1.09,-1.186),(-1.094,-1.2),(-1.11,-1.22),(-1.113,-1.23),(-1.14,-1.258),(-1.16,-1.269),(-1.169,-1.27),(-1.18,-1.278),(-1.21,-1.278),(-1.22,-1.276),(-1.228,-1.27),(-1.24,-1.269),(-1.3,-1.269),(-1.31,-1.278),(-1.321,-1.28),(-1.37,-1.326),(-1.41,-1.349),(-1.421,-1.35),(-1.43,-1.357),(-1.44,-1.359)])
inv_des_mode_conv_0_1.add(gdstk.FlexPath([(4,0),(4.1,0)], 0.8, ends="flush", simple_path=True, layer=1, datatype=10))  # PinRec
inv_des_mode_conv_0_1.add(gdstk.FlexPath([(-4,0),(-4.1,0)], 0.8, ends="flush", simple_path=True, layer=1, datatype=10))  # PinRec
inv_des_mode_conv_0_1.add(gdstk.Label('opt2', (4.05,-0.02), layer=1, texttype=10))
inv_des_mode_conv_0_1.add(gdstk.Label('opt1', (-4.05,0), layer=1, texttype=10))

lib.write_gds('inv_des_mode_conv_0_1.gds')
